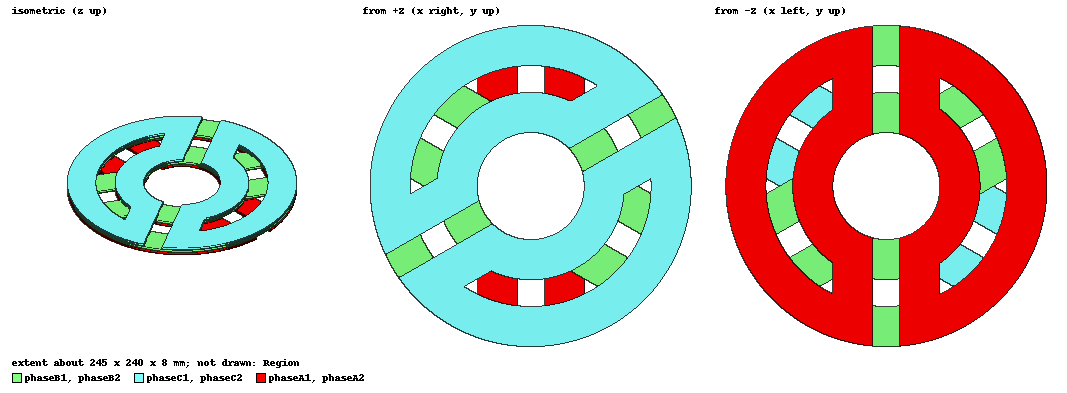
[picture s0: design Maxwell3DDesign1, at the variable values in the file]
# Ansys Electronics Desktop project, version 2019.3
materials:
  vacuum: permittivity=1
  copper: permeability=0.999991 conductivity=58000000

design Maxwell3DDesign1 (Maxwell 3D, Transient, model units mm)
options: Multiplier=1
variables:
  r_inner = 40mm
  conductor_height = 2mm
  r_inner_middle = 70mm
  r_outer_middle = 90mm
  r_outer = 120mm
  difference = 10mm
  distance_phase = 3mm
  rotation_angle = 120deg
  magC = -10A
  magA = 20A
  magB = -10A
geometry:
  Cylinder1 = cylinder(axis=Z, base_centre=(0mm, 0mm, 0mm), radius=r_inner, height=conductor_height)
  inner = cylinder(axis=Z, base_centre=(0mm, 0mm, 0mm), radius=r_inner_middle, height=conductor_height)
  inner.subtract(Cylinder1)
  inner.split(plane=YZ, keep=PositiveOnly)
  Cylinder2 = cylinder(axis=Z, base_centre=(0mm, 0mm, 0mm), radius=r_outer_middle, height=conductor_height)
  phaseA1 [copper] = cylinder(axis=Z, base_centre=(0mm, 0mm, 0mm), radius=r_outer, height=conductor_height)
  phaseA1.subtract(Cylinder2)
  phaseA1.split(plane=YZ, keep=PositiveOnly)
  Box1 = box(corner=(difference, -r_outer, 0mm), size=(r_inner_middle-r_inner, 2*r_outer, conductor_height))
  inner_1 = inner.copy()
  outer_1 = phaseA1.copy()
  Box1.subtract(inner_1, outer_1)
  Box1_Separate2, Box1_Separate3 = Box1.separate_bodies()
  Box1.delete()
  Box2 = box(corner=(0mm, -r_outer, 0mm), size=(difference, 2*r_outer, conductor_height))
  Box2_1 = Box2.copy()
  inner.subtract(Box2_1)
  phaseA1.subtract(Box2)
  phaseA1.unite(Box1_Separate2, inner, Box1_Separate3)
  phaseA2 [copper] = phaseA1.duplicate_mirror(point=(0mm, 0mm, 0mm), normal=(-1mm, 0mm, 0mm))
  phaseB1, phaseC1 [copper] = phaseA1.duplicate_along_line(step=(0mm, 0mm, distance_phase), total=3)
  phaseB2, phaseC2 [copper] = phaseA2.duplicate_along_line(step=(0mm, 0mm, distance_phase), total=3)
  coordinate_system RelativeCS1 = origin=(0mm, 0mm, distance_phase) x=(1mm, 0mm, 0mm) y=(0mm, 1mm, 0mm)
  coordinate_system RelativeCS2 = origin=(0mm, 0mm, distance_phase) x=(1mm, 0mm, 0mm) y=(0mm, 1mm, 0mm) in RelativeCS1
  [phaseB2, phaseB1].rotate(axis=Z, angle=-rotation_angle) in RelativeCS1
  [phaseC1, phaseC2].rotate(axis=Z, angle=rotation_angle) in RelativeCS2
  phaseA1_Section1 [copper] = phaseA1.section(plane=ZX)
  phaseA2_Section1 [copper] = phaseA2.section(plane=ZX)
  phaseB2_Section1 [copper] = phaseB2.section(plane=ZX) in RelativeCS1
  phaseB1_Section1 [copper] = phaseB1.section(plane=ZX) in RelativeCS1
  phaseC2_Section1 [copper] = phaseC2.section(plane=ZX) in RelativeCS2
  phaseC1_Section1 [copper] = phaseC1.section(plane=ZX) in RelativeCS2
  Region [vacuum] = region(percentage_offset: +X=200, -X=200, +Y=200, -Y=200, +Z=50, -Z=50) in RelativeCS2
  phaseA1_Section1_Separate1 [copper] = phaseA1_Section1.separate_bodies()
  phaseC1_Section1_Separate1 [copper] = phaseC1_Section1.separate_bodies()
  phaseA2_Section1_Separate1 [copper] = phaseA2_Section1.separate_bodies()
  phaseB2_Section1_Separate1 [copper] = phaseB2_Section1.separate_bodies()
  phaseB1_Section1_Separate1 [copper] = phaseB1_Section1.separate_bodies()
  phaseC2_Section1_Separate1 [copper] = phaseC2_Section1.separate_bodies()
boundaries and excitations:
  Insulating1: Insulating Objects=[phaseA1, phaseA2, phaseB1, phaseB2, phaseC1, phaseC2]
  CoilTerminal_1: Coil Terminal Objects=phaseA1_Section1 Conductor_number=20 Winding=A1 Point_out_of_terminal=false
  CoilTerminal_2: Coil Terminal Objects=phaseA1_Section1_Separate1 Conductor_number=20 Winding=A1 Point_out_of_terminal=true
  CoilTerminal_3: Coil Terminal Objects=phaseA2_Section1_Separate1 Conductor_number=20 Winding=A2 Point_out_of_terminal=true
  CoilTerminal_4: Coil Terminal Objects=phaseA2_Section1 Conductor_number=20 Winding=A2 Point_out_of_terminal=false
  A1: Winding Group Type=External IsSolid=false Current=0mA ParallelBranchesNum=1
  A2: Winding Group Type=External IsSolid=false Current=0mA ParallelBranchesNum=1
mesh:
  initial mesh: GlobalCurvilinear{Apply}
